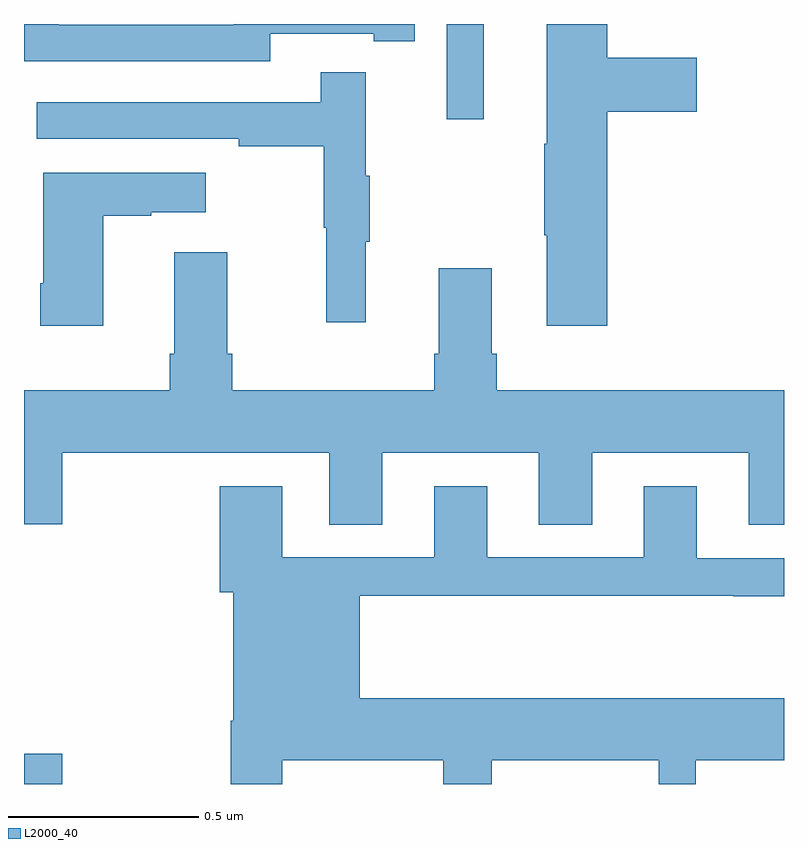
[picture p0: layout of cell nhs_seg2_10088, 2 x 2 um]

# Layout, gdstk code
import gdstk
lib = gdstk.Library(unit=1e-6, precision=1e-09)
def R(c, l, rs):  # rectangles x0, y0, x1, y1
    for r in rs: c.add(gdstk.rectangle(r[:2], r[2:], *l))
def P(c, l, *ps):  # polygons
    for p in ps: c.add(gdstk.Polygon(p, *l))
L2000_40 = (2000, 40)

nhs_seg2_10088 = lib.new_cell('nhs_seg2_10088')
R(nhs_seg2_10088, L2000_40, [(237,610.8,237.1,610.879), (238.113,612.549,238.21,612.8)])
P(nhs_seg2_10088, L2000_40, [(238.535,612.569),(238.771,612.569),(238.771,612.711),(238.535,612.711),(238.535,612.8),(238.376,612.8),(238.376,612.485),(238.369,612.485),(238.369,612.244),(238.376,612.244),(238.376,612.006),(238.535,612.006)],
  [(237.648,612.774),(237.92,612.774),(237.92,612.754),(238.028,612.754),(238.028,612.8),(237.552,612.8),(237.552,612.798),(237.092,612.798),(237.092,612.8),(237,612.8),(237,612.702),(237.648,612.702)],
  [(237.899,612.227),(237.91,612.227),(237.91,612.401),(237.899,612.401),(237.899,612.673),(237.781,612.673),(237.781,612.594),(237.033,612.594),(237.033,612.498),(237.565,612.498),(237.565,612.478),(237.789,612.478),(237.789,612.264),(237.796,612.264),(237.796,612.015),(237.899,612.015)],
  [(237.208,612.295),(237.335,612.295),(237.335,612.305),(237.478,612.305),(237.478,612.409),(237.05,612.409),(237.05,612.118),(237.043,612.118),(237.043,612.006),(237.208,612.006)],
  [(237.943,611.672),(238.355,611.672),(238.355,611.482),(238.495,611.482),(238.495,611.672),(238.907,611.672),(238.907,611.482),(239,611.482),(239,611.836),(238.244,611.836),(238.244,611.932),(238.231,611.932),(238.231,612.157),(238.091,612.157),(238.091,611.932),(238.079,611.932),(238.079,611.836),(237.548,611.836),(237.548,611.932),(237.535,611.932),(237.535,612.199),(237.395,612.199),(237.395,611.932),(237.383,611.932),(237.383,611.836),(237,611.836),(237,611.484),(237.1,611.484),(237.1,611.672),(237.803,611.672),(237.803,611.482),(237.943,611.482)],
  [(237.679,610.862),(238.103,610.862),(238.103,610.8),(238.231,610.8),(238.231,610.862),(238.67,610.862),(238.67,610.8),(238.768,610.8),(238.768,610.862),(239,610.862),(239,611.026),(237.883,611.026),(237.883,611.296),(238.867,611.296),(238.867,611.294),(239,611.294),(239,611.394),(238.771,611.394),(238.771,611.584),(238.631,611.584),(238.631,611.397),(238.219,611.397),(238.219,611.584),(238.079,611.584),(238.079,611.397),(237.679,611.397),(237.679,611.584),(237.515,611.584),(237.515,611.304),(237.551,611.304),(237.551,610.966),(237.544,610.966),(237.544,610.8),(237.679,610.8)])

lib.write_gds('nhs_seg2_10088.gds')
